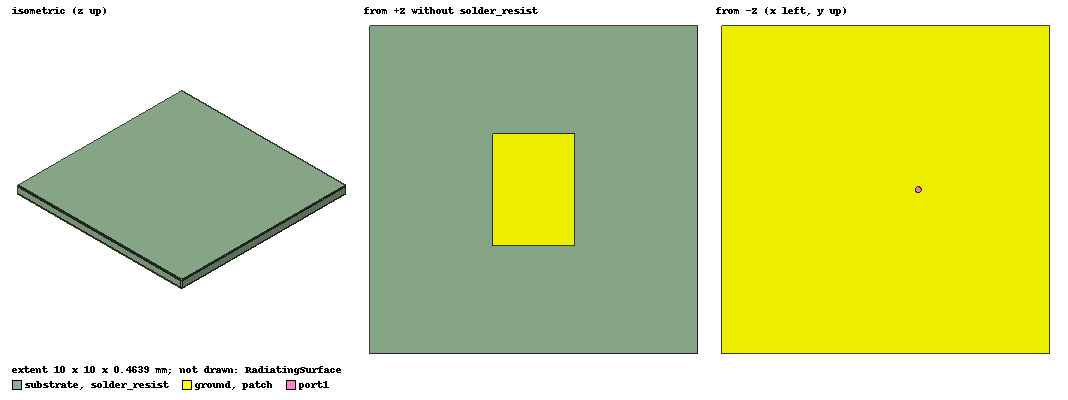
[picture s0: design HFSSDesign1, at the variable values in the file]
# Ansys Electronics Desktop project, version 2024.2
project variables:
  $e2 = 2.98
  $e1 = 3.19
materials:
  vacuum: permittivity=1
  Rogers RO4350 (tm): permittivity=3.66 dielectric_loss_tangent=0.004
  pec: conductivity=1e+30
  air: permittivity=1.0006 permeability=1.0000004
  Rogers RT/duroid 6006 (tm): permittivity=6.15 dielectric_loss_tangent=0.0019
  copper: permeability=0.999991 conductivity=58000000
  substrate: permittivity=1
  teflon_based: permittivity=2.08 dielectric_loss_tangent=0.001
  Material_subs: permittivity=$e1
  Material_sr: permittivity=$e2

design HFSSDesign1 (HFSS, HFSS Terminal Network, model units mm)
options: Allow_Material_Override
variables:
  h_subs = 0.36090908mm
  l_patch = 2.484mm
  w_patch = 3.4mm
  h_patch = 0.029mm
  h_sr = 0.045mm
  r_probe = 0.048090909mm
  c_pad = 0.001mm
  r_pad = r_probe + c_pad
  c_antipad = 0.045mm
  r_antipad = r_pad + c_antipad
  c_probe = 0.40090909
  d_probe = c_probe*l_patch
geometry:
  substrate [Material_subs] = box(corner=(-5mm, -5mm, 0mm), size=(10mm, 10mm, -h_subs))
  probe [copper] = cylinder(axis=Z, base_centre=(-d_probe, 0mm, 0mm), radius=r_probe, height=-h_subs)
  port1 = circle(normal=Z, centre=(-d_probe, 0mm, -h_subs-h_patch), radius=r_antipad)
  ground [copper] = box(corner=(-5mm, -5mm, -h_subs), size=(10mm, 10mm, -h_patch))
  patch [copper] = box(corner=(-l_patch/2, -w_patch/2, 0mm), size=(l_patch, w_patch, h_patch))
  Cylinder1 = cylinder(axis=Z, base_centre=(-d_probe, 0mm, -h_subs), radius=r_antipad, height=-h_patch)
  ground.subtract(Cylinder1)
  pad [copper] = cylinder(axis=Z, base_centre=(-d_probe, 0mm, -h_subs), radius=r_pad, height=-h_patch)
  solder_resist [Material_sr] = box(corner=(-5mm, -5mm, 0mm), size=(10mm, 10mm, h_patch+h_sr))
  RadiatingSurface [air] = region(absolute_offset=4.3478261mm on all sides)
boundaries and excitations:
  Open1: Radiation Objects=RadiatingSurface
  pad_T1: Terminal port=1 Faces=pad.face(-z end) TerminalResistance=50ohm
  1: Lumped Port Faces=port1.face LumpedPortType=Terminal Impedance=50ohm
  reference conductors: ground
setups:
  Setup1: HfssDriven Frequency=33GHz MaxDeltaS=0.01 MaximumPasses=30 MinimumPasses=1 MinimumConvergedPasses=1 PercentRefinement=30 BasisOrder=1 PortAccuracy=2 DrivenSolverType="Direct Solver"
    sweep Sweep: 23GHz to 33GHz step 0.05GHz; Type=Interpolating SaveFields SaveRadFields InterpTolerance=0.5 InterpMaxSolns=250 PassivityErrorTolerance=0.0001
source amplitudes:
  1:1: 1 0deg
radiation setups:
  3D: Infinite Sphere Theta=0deg..180deg step 2deg Phi=-180deg..180deg step 2deg
  Elevation: Infinite Sphere Theta=-180deg..180deg step 1deg Phi=0deg..90deg step 90deg
  Azimuth: Infinite Sphere Theta=90deg..90deg step 0deg Phi=-180deg..180deg step 1deg
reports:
  Terminal S Parameter Plot 1: re(St(pad_T1,pad_T1)), im(St(pad_T1,pad_T1)) vs Freq on Setup1 : Sweep
  Terminal S Parameter Plot 2: dB(St(pad_T1,pad_T1)) vs Freq on Setup1 : Sweep
